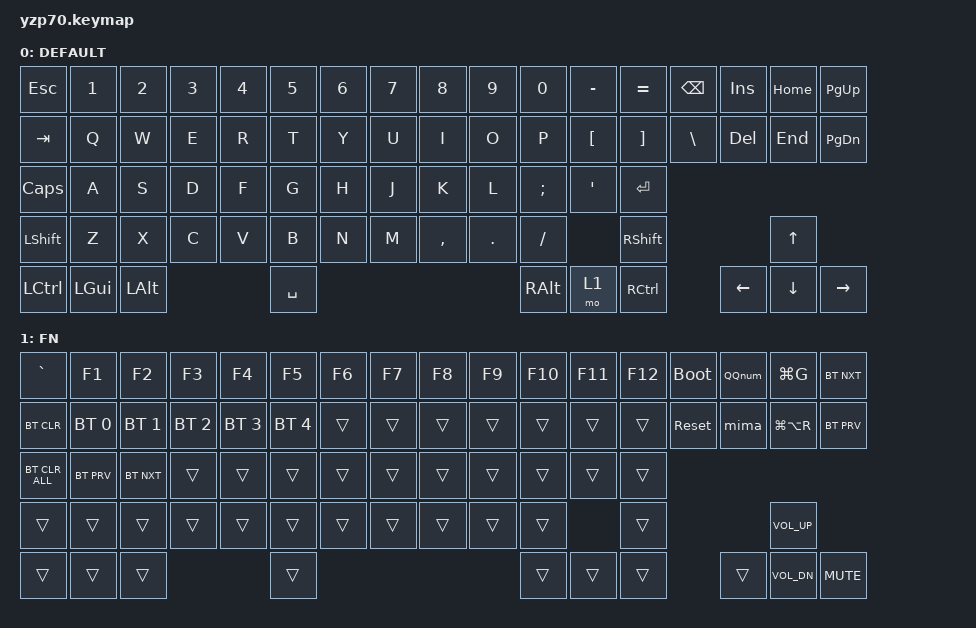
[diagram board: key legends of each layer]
/*
 * Copyright (c) 2020 The ZMK Contributors
 *
 * SPDX-License-Identifier: MIT
 */

#include <behaviors.dtsi>
#include <dt-bindings/zmk/bt.h>
#include <dt-bindings/zmk/keys.h>

#define DEFAULT 0
#define FN  1

/ {
    macros {
        QQnum: number {
            compatible = "zmk,behavior-macro";
            #binding-cells = <0>;
            bindings = <&kp N1 &kp N3 &kp N0 &kp N6 &kp N0 &kp N6 &kp N3 &kp N4 &kp N2 &kp N4>;
            label = "NUMBER";
        };

        mima: mima {
            compatible = "zmk,behavior-macro";
            #binding-cells = <0>;
            bindings = <&kp L &kp H &kp B &kp N2 &kp N0 &kp N0 &kp N1 &kp N0 &kp N6 &kp N1 &kp N3>;
            label = "MIMA";
        };
    };

    keymap {
        compatible = "zmk,keymap";

        default_layer {
            label = "DEFAULT";
            bindings = <
&kp ESC    &kp N1    &kp N2    &kp N3  &kp N4  &kp N5     &kp N6  &kp N7  &kp N8     &kp N9   &kp N0    &kp MINUS  &kp EQUAL  &kp BSPC  &kp INS   &kp HOME  &kp PG_UP
&kp TAB    &kp Q     &kp W     &kp E   &kp R   &kp T      &kp Y   &kp U   &kp I      &kp O    &kp P     &kp LBKT   &kp RBKT   &kp BSLH  &kp DEL   &kp END   &kp PG_DN
&kp CAPS   &kp A     &kp S     &kp D   &kp F   &kp G      &kp H   &kp J   &kp K      &kp L    &kp SEMI  &kp SQT    &kp RET
&kp LSHFT  &kp Z     &kp X     &kp C   &kp V   &kp B      &kp N   &kp M   &kp COMMA  &kp DOT  &kp FSLH             &kp RSHFT                      &kp UP
&kp LCTRL  &kp LGUI  &kp LALT                  &kp SPACE                                      &kp RALT  &mo 1      &kp RCTRL            &kp LEFT  &kp DOWN  &kp RIGHT
            >;
        };

        fn_layer {
            label = "FN";
            bindings = <
&kp GRAVE       &kp F1        &kp F2        &kp F3        &kp F4        &kp F5        &kp F6  &kp F7  &kp F8  &kp F9  &kp F10  &kp F11  &kp F12  &bootloader  &QQnum  &kp LG(G)        &bt BT_NXT
&bt BT_CLR      &bt BT_SEL 0  &bt BT_SEL 1  &bt BT_SEL 2  &bt BT_SEL 3  &bt BT_SEL 4  &trans  &trans  &trans  &trans  &trans   &trans   &trans   &sys_reset   &mima   &kp LG(LA(R))    &bt BT_PRV
&bt BT_CLR_ALL  &bt BT_PRV    &bt BT_NXT    &trans        &trans        &trans        &trans  &trans  &trans  &trans  &trans   &trans   &trans
&trans          &trans        &trans        &trans        &trans        &trans        &trans  &trans  &trans  &trans  &trans            &trans                        &kp C_VOLUME_UP
&trans          &trans        &trans                                    &trans                                        &trans   &trans   &trans                &trans  &kp C_VOL_DN     &kp C_MUTE
            >;
        };
    };
};
